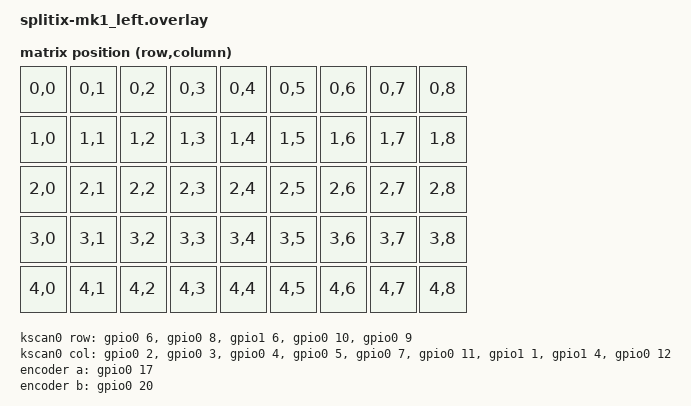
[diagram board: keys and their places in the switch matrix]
#include <dt-bindings/zmk/matrix_transform.h>

/ {
    chosen {
        zmk,kscan = &kscan0;
        zmk,matrix_transform = &transform0;
    };

    kscan0: kscan {
        compatible = "zmk,kscan-gpio-matrix";
        diode-direction = "col2row";

        row-gpios = <&gpio0 6 (GPIO_PULL_DOWN | GPIO_ACTIVE_HIGH)>,
                    <&gpio0 8 (GPIO_PULL_DOWN | GPIO_ACTIVE_HIGH)>,
                    <&gpio1 6 (GPIO_PULL_DOWN | GPIO_ACTIVE_HIGH)>,
                    <&gpio0 10 (GPIO_PULL_DOWN | GPIO_ACTIVE_HIGH)>,
                    <&gpio0 9 (GPIO_PULL_DOWN | GPIO_ACTIVE_HIGH)>;

        col-gpios = <&gpio0 2 (GPIO_PULL_UP | GPIO_ACTIVE_HIGH)>,
                    <&gpio0 3 (GPIO_PULL_UP | GPIO_ACTIVE_HIGH)>,
                    <&gpio0 4 (GPIO_PULL_UP | GPIO_ACTIVE_HIGH)>,
                    <&gpio0 5 (GPIO_PULL_UP | GPIO_ACTIVE_HIGH)>,
                    <&gpio0 7 (GPIO_PULL_UP | GPIO_ACTIVE_HIGH)>,
                    <&gpio0 11 (GPIO_PULL_UP | GPIO_ACTIVE_HIGH)>,
                    <&gpio1 1 (GPIO_PULL_UP | GPIO_ACTIVE_HIGH)>,
                    <&gpio1 4 (GPIO_PULL_UP | GPIO_ACTIVE_HIGH)>,
                    <&gpio0 12 (GPIO_PULL_UP | GPIO_ACTIVE_HIGH)>;
    };

    transform0: matrix_transform {
        compatible = "zmk,matrix-transform";
        rows = <5>;
        columns = <9>;

        map = <
RC(0,0) RC(0,1) RC(0,2) RC(0,3) RC(0,4) RC(0,5) RC(0,6) RC(0,7) RC(0,8)
RC(1,0) RC(1,1) RC(1,2) RC(1,3) RC(1,4) RC(1,5) RC(1,6) RC(1,7) RC(1,8)
RC(2,0) RC(2,1) RC(2,2) RC(2,3) RC(2,4) RC(2,5) RC(2,6) RC(2,7) RC(2,8)
RC(3,0) RC(3,1) RC(3,2) RC(3,3) RC(3,4) RC(3,5) RC(3,6) RC(3,7) RC(3,8)
RC(4,0) RC(4,1) RC(4,2) RC(4,3) RC(4,4) RC(4,5) RC(4,6) RC(4,7) RC(4,8)
        >;
    };

    encoder: encoder {
        compatible = "alps,ec11";
        a-gpios = <&gpio0 17 (GPIO_PULL_UP | GPIO_ACTIVE_HIGH)>;
        b-gpios = <&gpio0 20 (GPIO_PULL_UP | GPIO_ACTIVE_HIGH)>;
        steps = <80>;
    };

    sensors {
        compatible = "zmk,keymap-sensors";
        sensors = <&encoder>;
        triggers-per-rotation = <20>;
    };
};
